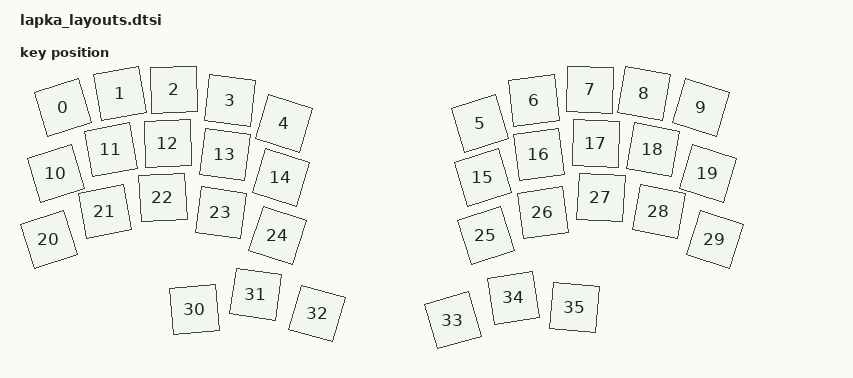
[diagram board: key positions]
#include <physical_layouts.dtsi>

/ {
    lapka36_layout: lapka36_layout {
        compatible = "zmk,physical-layout";
        display-name = "Lapka 36";

        keys //                      w   h    x    y      r   rx   ry
            = <&key_physical_attrs 100 100   12   36 (-1700)   62   86> // Q
            , <&key_physical_attrs 100 100  126    8 (-1000)  176   58> // W
            , <&key_physical_attrs 100 100  234    0  (-150)  284   50> // E
            , <&key_physical_attrs 100 100  346   22    700   396   72> // R
            , <&key_physical_attrs 100 100  454   68   1700   504  118> // T

            , <&key_physical_attrs 100 100  846   68 (-1700)  896  118> // Y
            , <&key_physical_attrs 100 100  954   22  (-700) 1004   72> // U
            , <&key_physical_attrs 100 100 1066    0    150  1116   50> // I
            , <&key_physical_attrs 100 100 1174    8   1000  1224   58> // O
            , <&key_physical_attrs 100 100 1288   36   1700  1338   86> // P

            , <&key_physical_attrs 100 100   -2  168 (-1750)   48  218> // A
            , <&key_physical_attrs 100 100  108  120 (-1050)  158  170> // S
            , <&key_physical_attrs 100 100  222  108  (-200)  272  158> // D
            , <&key_physical_attrs 100 100  336  130    750   386  180> // F
            , <&key_physical_attrs 100 100  448  176   1750   498  226> // G

            , <&key_physical_attrs 100 100  852  176 (-1750)  902  226> // H
            , <&key_physical_attrs 100 100  964  130  (-750) 1014  180> // J
            , <&key_physical_attrs 100 100 1078  108    200  1128  158> // K
            , <&key_physical_attrs 100 100 1192  120   1050  1242  170> // L
            , <&key_physical_attrs 100 100 1302  168   1750  1352  218> // ~

            , <&key_physical_attrs 100 100  -16  300 (-1800)   34  350> // Z
            , <&key_physical_attrs 100 100   96  244 (-1100)  146  294> // X
            , <&key_physical_attrs 100 100  212  216  (-300)  262  266> // C
            , <&key_physical_attrs 100 100  328  246    800   378  296> // V
            , <&key_physical_attrs 100 100  442  292   1800   492  342> // B

            , <&key_physical_attrs 100 100  858  292 (-1800)  908  342> // N
            , <&key_physical_attrs 100 100  972  246  (-800) 1022  296> // M
            , <&key_physical_attrs 100 100 1088  216    300  1138  266> // &
            , <&key_physical_attrs 100 100 1204  244   1100  1254  294> // [
            , <&key_physical_attrs 100 100 1316  300   1800  1366  350> // ]

            , <&key_physical_attrs 100 100  276  444    -500   276  494>
            , <&key_physical_attrs 100 100  398  402     850   398  452>
            , <&key_physical_attrs 100 100  522  434    1600   522  484>

            , <&key_physical_attrs 100 100  788  434 (-1600)   938  484>
            , <&key_physical_attrs 100 100  912  402  (-850)  1062  452>
            , <&key_physical_attrs 100 100 1034  444     500   1184  494>
            ;
    };
};
